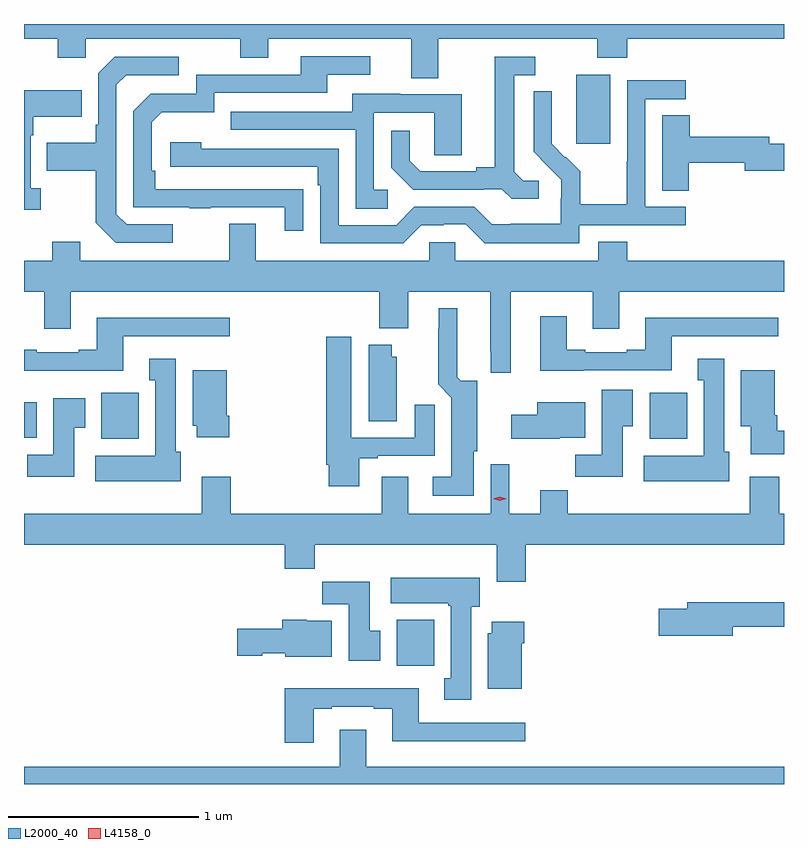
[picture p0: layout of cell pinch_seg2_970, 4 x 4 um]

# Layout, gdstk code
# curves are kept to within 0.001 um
import gdstk
lib = gdstk.Library(unit=1e-6, precision=1e-09)
def R(c, l, rs):  # rectangles x0, y0, x1, y1
    for r in rs: c.add(gdstk.rectangle(r[:2], r[2:], *l))
def P(c, l, *ps):  # polygons
    for p in ps: c.add(gdstk.Polygon(p, *l))
L2000_40 = (2000, 40)
L4158_0 = (4158, 0)

pinch_seg2_970 = lib.new_cell('pinch_seg2_970')
R(pinch_seg2_970, L2000_40, [(174.167,648.332,174.364,648.574), (172.613,649.526,172.81,649.768), (175.499,649.526,175.696,649.768), (172.206,649.532,172.273,649.72), (175.112,651.081,175.291,651.442)])
P(pinch_seg2_970, L2000_40, [(174.385,651.632),(175.222,651.632),(175.222,651.533),(175.382,651.533),(175.382,651.632),(176.206,651.632),(176.206,651.71),(172.206,651.71),(172.206,651.632),(172.384,651.632),(172.384,651.533),(172.53,651.533),(172.53,651.632),(173.344,651.632),(173.344,651.533),(173.491,651.533),(173.491,651.632),(174.245,651.632),(174.245,651.424),(174.385,651.424)],
  [(173.675,650.84),(172.898,650.841),(172.898,650.938),(172.878,650.938),(172.878,651.192),(172.931,651.245),(173.208,651.245),(173.208,651.348),(173.803,651.348),(173.803,651.444),(174.028,651.444),(174.028,651.54),(173.663,651.54),(173.663,651.444),(173.112,651.444),(173.112,651.342),(172.872,651.342),(172.782,651.252),(172.782,650.745),(173.077,650.745),(173.077,650.74),(173.189,650.74),(173.189,650.745),(173.579,650.745),(173.579,650.622),(173.675,650.622)],
  [(172.99,650.655),(172.746,650.655),(172.692,650.709),(172.692,651.39),(172.743,651.441),(173.02,651.441),(173.02,651.537),(172.683,651.537),(172.596,651.45),(172.596,651.181),(172.584,651.181),(172.584,651.085),(172.327,651.085),(172.327,650.938),(172.584,650.938),(172.584,650.665),(172.689,650.559),(172.99,650.559)],
  [(174.916,650.886),(174.834,650.886),(174.787,650.933),(174.787,651.441),(174.898,651.441),(174.898,651.537),(174.683,651.537),(174.683,650.957),(174.587,650.957),(174.587,650.934),(174.292,650.934),(174.235,650.991),(174.235,651.148),(174.138,651.148),(174.138,650.954),(174.254,650.838),(174.626,650.838),(174.626,650.841),(174.72,650.841),(174.772,650.789),(174.916,650.789)],
  [(175.128,650.652),(175.69,650.652),(175.69,650.748),(175.476,650.748),(175.476,651.315),(175.69,651.315),(175.69,651.414),(175.38,651.414),(175.38,650.984),(175.378,650.984),(175.378,650.761),(175.133,650.761),(175.133,650.935),(175.056,651.012),(175.053,651.009),(174.983,651.08),(174.984,651.356),(174.888,651.356),(174.888,651.038),(175.034,650.89),(175.034,650.793),(175.032,650.793),(175.032,650.659),(174.769,650.659),(174.769,650.655),(174.669,650.655),(174.576,650.748),(174.261,650.748),(174.165,650.652),(173.862,650.652),(173.862,651.054),(173.138,651.054),(173.138,651.088),(172.977,651.088),(172.977,650.958),(173.753,650.958),(173.753,650.861),(173.766,650.861),(173.766,650.556),(174.201,650.556),(174.297,650.652),(174.416,650.652),(174.416,650.655),(174.531,650.655),(174.631,650.555),(175.128,650.555)],
  [(172.294,650.846),(172.242,650.846),(172.242,651.125),(172.255,651.125),(172.255,651.221),(172.511,651.221),(172.511,651.361),(172.206,651.361),(172.206,650.733),(172.294,650.733)],
  [(174.121,650.838),(174.048,650.838),(174.048,651.243),(174.366,651.243),(174.366,651.019),(174.511,651.019),(174.511,651.339),(174.187,651.339),(174.187,651.343),(173.933,651.343),(173.933,651.249),(173.293,651.249),(173.293,651.153),(173.952,651.153),(173.952,650.737),(174.121,650.737)],
  [(175.704,650.98),(176,650.98),(176,650.938),(176.206,650.938),(176.206,651.08),(176.128,651.08),(176.128,651.116),(175.709,651.116),(175.709,651.23),(175.565,651.23),(175.565,650.833),(175.704,650.833)],
  [(174.769,650.3),(175.199,650.3),(175.199,650.106),(175.339,650.106),(175.339,650.3),(176.206,650.3),(176.206,650.464),(175.382,650.464),(175.382,650.563),(175.229,650.563),(175.229,650.464),(174.477,650.464),(174.477,650.562),(174.339,650.562),(174.339,650.464),(173.425,650.464),(173.425,650.659),(173.285,650.659),(173.285,650.464),(172.501,650.464),(172.501,650.563),(172.354,650.563),(172.354,650.464),(172.206,650.464),(172.206,650.3),(172.313,650.3),(172.313,650.106),(172.453,650.106),(172.453,650.3),(174.077,650.3),(174.077,650.108),(174.229,650.108),(174.229,650.3),(174.659,650.3),(174.659,649.987),(174.663,649.987),(174.663,649.875),(174.769,649.875)],
  [(174.574,649.461),(174.592,649.461),(174.592,649.833),(174.504,649.833),(174.487,649.851),(174.487,650.215),(174.389,650.215),(174.389,650.105),(174.385,650.105),(174.385,649.814),(174.455,649.744),(174.455,649.327),(174.357,649.327),(174.357,649.226),(174.574,649.226)],
  [(175.151,649.887),(175.615,649.887),(175.615,650.067),(176.176,650.067),(176.176,650.164),(175.475,650.164),(175.475,649.996),(175.379,649.996),(175.379,649.983),(175.159,649.983),(175.159,649.996),(175.063,649.996),(175.063,650.173),(174.923,650.173),(174.923,649.886),(175.151,649.886)],
  [(172.729,650.067),(173.29,650.067),(173.29,650.164),(172.589,650.164),(172.589,649.996),(172.493,649.996),(172.493,649.983),(172.273,649.983),(172.273,649.996),(172.206,649.996),(172.206,649.886),(172.729,649.886)],
  [(173.971,649.425),(174.067,649.425),(174.067,649.437),(174.367,649.437),(174.367,649.705),(174.263,649.705),(174.263,649.533),(173.929,649.533),(173.929,650.065),(173.798,650.065),(173.798,649.39),(173.81,649.39),(173.81,649.278),(173.971,649.278)],
  [(174.169,649.959),(174.142,649.959),(174.142,650.023),(174.02,650.023),(174.02,649.618),(174.169,649.618)],
  [(175.918,649.458),(175.891,649.458),(175.891,649.948),(175.751,649.948),(175.751,649.835),(175.784,649.835),(175.784,649.438),(175.467,649.438),(175.467,649.304),(175.918,649.304)],
  [(173.032,649.458),(173.005,649.458),(173.005,649.948),(172.865,649.948),(172.865,649.835),(172.898,649.835),(172.898,649.438),(172.581,649.438),(172.581,649.304),(173.032,649.304)],
  [(173.285,649.648),(173.272,649.648),(173.272,649.888),(173.093,649.888),(173.093,649.596),(173.114,649.596),(173.114,649.536),(173.285,649.536)],
  [(176.206,649.568),(176.171,649.568),(176.171,649.651),(176.158,649.651),(176.158,649.888),(175.979,649.888),(175.979,649.592),(176.03,649.592),(176.03,649.445),(176.206,649.445)],
  [(175.357,649.592),(175.411,649.592),(175.411,649.786),(175.247,649.786),(175.247,649.444),(175.108,649.444),(175.108,649.326),(175.357,649.326)],
  [(172.471,649.585),(172.528,649.585),(172.528,649.741),(172.361,649.741),(172.361,649.444),(172.222,649.444),(172.222,649.326),(172.471,649.326)],
  [(175.026,649.532),(175.159,649.532),(175.159,649.72),(174.908,649.72),(174.908,649.654),(174.771,649.654),(174.771,649.526),(175.026,649.526)],
  [(173.294,649.327),(173.141,649.327),(173.141,649.132),(172.206,649.132),(172.206,648.968),(173.579,648.968),(173.579,648.844),(173.735,648.844),(173.735,648.968),(174.695,648.968),(174.695,648.774),(174.848,648.774),(174.848,648.968),(176.206,648.968),(176.206,649.132),(176.18,649.132),(176.18,649.327),(176.027,649.327),(176.027,649.132),(175.067,649.132),(175.067,649.256),(174.923,649.256),(174.923,649.132),(174.76,649.132),(174.76,649.393),(174.663,649.393),(174.663,649.132),(174.229,649.132),(174.229,649.327),(174.089,649.327),(174.089,649.132),(173.294,649.132)],
  [(174.559,648.642),(174.604,648.642),(174.604,648.796),(174.135,648.796),(174.135,648.662),(174.439,648.662),(174.439,648.649),(174.452,648.649),(174.452,648.266),(174.419,648.266),(174.419,648.153),(174.559,648.153)],
  [(174.082,648.516),(174.025,648.516),(174.025,648.775),(173.776,648.775),(173.776,648.656),(173.915,648.656),(173.915,648.36),(174.082,648.36)],
  [(175.936,648.538),(176.206,648.538),(176.206,648.667),(175.697,648.667),(175.697,648.633),(175.548,648.633),(175.548,648.491),(175.936,648.491)],
  [(173.827,648.568),(173.694,648.568),(173.694,648.574),(173.564,648.574),(173.564,648.528),(173.328,648.528),(173.328,648.386),(173.46,648.386),(173.46,648.398),(173.58,648.398),(173.58,648.38),(173.827,648.38)],
  [(174.826,648.452),(174.839,648.452),(174.839,648.565),(174.668,648.565),(174.668,648.504),(174.647,648.504),(174.647,648.212),(174.826,648.212)],
  [(173.731,648.105),(173.827,648.105),(173.827,648.117),(174.047,648.117),(174.047,648.105),(174.143,648.105),(174.143,647.936),(174.844,647.936),(174.844,648.033),(174.283,648.033),(174.283,648.214),(173.579,648.214),(173.579,647.928),(173.731,647.928)],
  [(176.206,647.8),(174.007,647.8),(174.007,647.995),(173.867,647.995),(173.867,647.8),(172.206,647.8),(172.206,647.71),(176.206,647.71)])
P(pinch_seg2_970, L4158_0, [(174.71,649.202),(174.675,649.212),(174.675,649.212),(174.675,649.212),(174.71,649.222),(174.745,649.212),(174.745,649.212),(174.745,649.212)])

lib.write_gds('pinch_seg2_970.gds')
